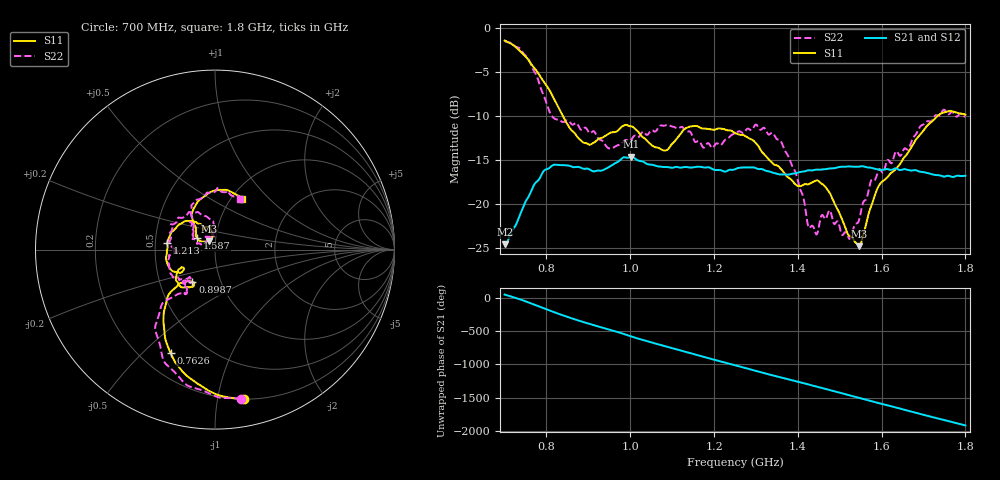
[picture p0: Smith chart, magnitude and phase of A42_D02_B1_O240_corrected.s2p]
! Created with skrf 1.9.0 (http://scikit-rf.org).
# Hz S RI R 50.0
!freq ReS11 ImS11 ReS21 ImS21 ReS12 ImS12 ReS22 ImS22
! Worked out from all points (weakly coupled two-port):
!   1601 points, 700 MHz to 1.8 GHz, reference 50 ohm
!   highest |S21| = -14.62 dB at 1.002 GHz (marker M1); lowest = -24.6 dB at 700.7 MHz (marker M2)
!   lowest |S11| = -24.8 dB at 1.547 GHz (marker M3), VSWR 1.12, Z = 46.5 + j4.34 ohm
!   |S11| at or under -10 dB: 839.3 MHz to 1.733 GHz (893.7 MHz wide, 69.5 % of centre)
!   |S22| runs from -24.0 to -1.5 dB; largest |S21 - S12| = 0.0034
!   S11 on the Smith chart (normalised r, x): 700 MHz: 0.20, -1.19; 762.6 MHz: 0.32, -0.61; 898.7 MHz: 0.73, -0.28; 1.213 GHz: 0.58, +0.05; 1.587 GHz: 0.81, +0.11; 1.8 GHz: 1.12, +0.71
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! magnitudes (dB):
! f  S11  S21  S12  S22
! 700 MHz  -1.4  -24.6  -24.3  -1.5
! 700.7 MHz  -1.4  -24.6  -24.3  -1.5
! 762.6 MHz  -4.0  -18.6  -18.6  -4.1
! 814.1 MHz  -7.7  -15.6  -15.6  -10.1
! 883.6 MHz  -12.8  -15.9  -15.8  -11.6
! 898.7 MHz  -13.2  -16.0  -16.0  -11.7
! 950.2 MHz  -11.9  -15.7  -15.8  -13.7
! 1.002 GHz  -11.2  -14.6  -14.7  -12.7
! 1.067 GHz  -13.6  -15.7  -15.6  -11.3
! 1.141 GHz  -11.2  -15.8  -15.8  -11.7
! 1.213 GHz  -11.4  -16.1  -16.1  -13.3
! 1.25 GHz  -11.9  -16.0  -16.0  -12.0
! 1.3 GHz  -13.1  -15.9  -15.9  -11.0
! 1.359 GHz  -15.9  -16.6  -16.6  -12.8
! 1.434 GHz  -17.5  -16.2  -16.1  -22.5
! 1.476 GHz  -18.7  -15.9  -16.0  -20.7
! 1.524 GHz  -23.6  -15.7  -15.7  -24.0
! 1.547 GHz  -24.8  -15.7  -15.7  -21.7
! 1.587 GHz  -18.6  -16.0  -16.0  -16.9
! 1.617 GHz  -16.8  -16.1  -16.0  -15.0
! 1.736 GHz  -9.9  -16.7  -16.8  -10.0
! 1.8 GHz  -9.8  -16.8  -16.8  -10.1
